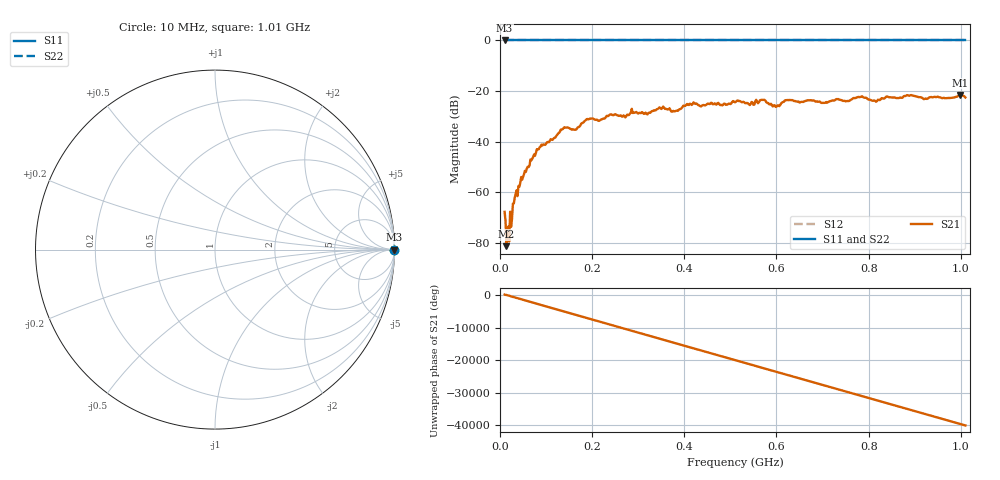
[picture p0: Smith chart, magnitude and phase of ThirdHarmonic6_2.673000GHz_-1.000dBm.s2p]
! 8/17/2025 6:14:11 AM
! C:\ANRITSUVNA\TEMP\TEMP.S2P
! CHANNEL.1
! TR.MEASUREMENT
! RAW.DATA
! RF.CORRECTION.OFF
! AVERAGING.OFF
! IF.BANDWIDTH: 5KHZ
! SWEEPTYPE:  FREQ.SWEEP(Linear)
! Reference Plane Port Info
! PORT:  PORT1  PORT2
! DISTANCE:  0  m  0  m
! TIME:  0  s  0  s
! PHASE.OFFSET:  0  deg.  0  deg.
! LOSS:  0  dB  0  dB
! REF.LOSS:  0  dB  0  dB
! REF.FREQ:  0  Hz  0  Hz
! Power Info
! POWER:  -20  dBm  -20  dBm
! EFF.POWER:  -20  dBm  -20  dBm
! SOURCE.ATTEN:  0  dB  0  dB
! TEST.ATTEN:  0  dB  0  dB
# GHZ S RI R 50.0
! FREQ.GHZ  S11RE  S11IM  S21RE  S21IM  S12RE  S12IM  S22RE  S22IM
!; PortSelection: Port_12
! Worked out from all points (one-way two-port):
!   501 points, 10 MHz to 1.01 GHz, reference 50 ohm
!   highest |S21| = -21.55 dB at 998 MHz (marker M1); lowest = -81.3 dB at 14 MHz (marker M2)
!   lowest |S11| = 0.0 dB at 10 MHz (marker M3)
!   |S11| at or under -10 dB: nowhere
!   |S22| runs from 0.0 to 0.0 dB; largest |S21 - S12| = 1.1
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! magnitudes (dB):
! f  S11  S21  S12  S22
! 10 MHz  0.0  -67.7  0.0  0.0
! 14 MHz  0.0  -81.3  0.0  0.0
! 16 MHz  0.0  -76.1  0.0  0.0
! 18 MHz  0.0  -73.5  0.0  0.0
! 24 MHz  0.0  -73.7  0.0  0.0
! 32 MHz  0.0  -62.2  0.0  0.0
! 44 MHz  0.0  -56.3  0.0  0.0
! 82 MHz  0.0  -43.0  0.0  0.0
! 136 MHz  0.0  -35.1  0.0  0.0
! 162 MHz  0.0  -35.3  0.0  0.0
! 178 MHz  0.0  -32.7  0.0  0.0
! 344 MHz  0.0  -26.9  0.0  0.0
! 376 MHz  0.0  -27.8  0.0  0.0
! 416 MHz  0.0  -25.5  0.0  0.0
! 510 MHz  0.0  -24.4  0.0  0.0
! 570 MHz  0.0  -23.5  0.0  0.0
! 602 MHz  0.0  -25.7  0.0  0.0
! 622 MHz  0.0  -23.6  0.0  0.0
! 678 MHz  0.0  -23.7  0.0  0.0
! 844 MHz  0.0  -22.4  0.0  0.0
! 998 MHz  0.0  -21.5  0.0  0.0
! 1.01 GHz  0.0  -22.5  0.0  0.0
